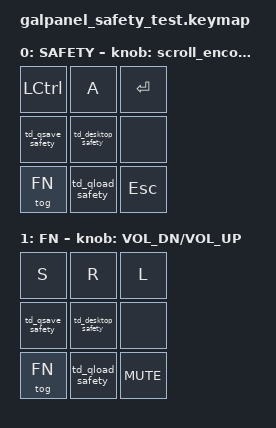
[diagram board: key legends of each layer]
/*
 * GALPANEL safety diagnostic.
 * SYS is owned by the safety module so it can distinguish tap, double tap,
 * and the six-second destructive hold.
 */

#include <behaviors.dtsi>
#include <dt-bindings/zmk/keys.h>
#define ZMK_POINTING_DEFAULT_SCRL_VAL 100
#include <dt-bindings/zmk/pointing.h>

#define FN 1

/ {
    behaviors {
        td_qsave_safety: tap_dance_qsave_safety {
            compatible = "zmk,behavior-tap-dance";
            #binding-cells = <0>;
            tapping-term-ms = <300>;
            bindings = <&none>, <&kp F11>;
        };

        td_qload_safety: tap_dance_qload_safety {
            compatible = "zmk,behavior-tap-dance";
            #binding-cells = <0>;
            tapping-term-ms = <300>;
            bindings = <&none>, <&kp F12>;
        };

        td_desktop_safety: tap_dance_desktop_safety {
            compatible = "zmk,behavior-tap-dance";
            #binding-cells = <0>;
            tapping-term-ms = <300>;
            bindings = <&none>, <&kp LG(D)>;
        };

        scroll_encoder_safety: scroll_encoder_safety {
            compatible = "zmk,behavior-sensor-rotate";
            #sensor-binding-cells = <0>;
            bindings = <&msc SCRL_UP>, <&msc SCRL_DOWN>;
            tap-ms = <20>;
        };
    };

    keymap {
        compatible = "zmk,keymap";

        base_layer {
            display-name = "SAFETY";
            bindings = <
                &kp LCTRL &kp A &kp ENTER
                &td_qsave_safety &td_desktop_safety &none
                &tog FN &td_qload_safety &kp ESC
            >;
            sensor-bindings = <&scroll_encoder_safety>;
        };

        fn_layer {
            display-name = "FN";
            bindings = <
                &kp S &kp R &kp L
                &td_qsave_safety &td_desktop_safety &none
                &tog FN &td_qload_safety &kp C_MUTE
            >;
            sensor-bindings = <&inc_dec_kp C_VOL_DN C_VOL_UP>;
        };
    };
};
